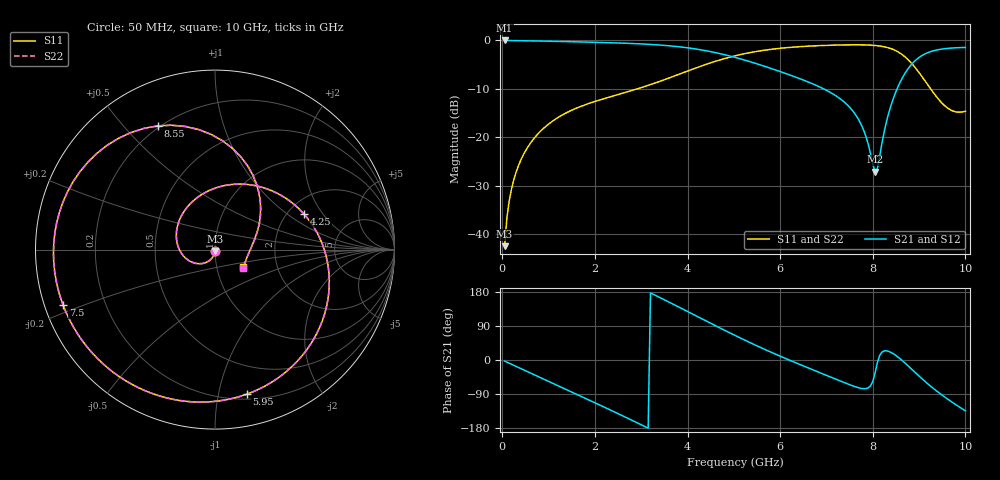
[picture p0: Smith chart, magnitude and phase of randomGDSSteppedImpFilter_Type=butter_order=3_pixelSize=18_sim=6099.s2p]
! freq	dB(S11)	phase(S11)	dB(S12)	phase(S12)
!  dB(S21)	phase(S21)	dB(S22)	phase(S22)
!S-par simulation data
#  GHz  S  DB  R 50
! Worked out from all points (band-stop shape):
!   200 points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, 50 MHz to 10 GHz, reference 50 ohm
!   highest |S21| = 0.00 dB at 50 MHz (marker M1); lowest = -27.0 dB at 8.05 GHz (marker M2)
!   |S21| within 3 dB of the highest: start of sweep to 4.829 GHz; 9.082 GHz to end of sweep
!   lowest |S11| = -42.4 dB at 50 MHz (marker M3), VSWR 1.02, Z = 50 - j0.757 ohm
!   |S11| at or under -10 dB: start of sweep to 2.913 GHz; 9.251 GHz to end of sweep
!   |S22| runs from -42.4 to -0.9 dB; largest |S21 - S12| = 0
!   S11 on the Smith chart (normalised r, x): 50 MHz: 1.00, -0.02; 4.25 GHz: 2.45, +1.35; 5.95 GHz: 0.24, -1.21; 7.5 GHz: 0.05, -0.18; 8.55 GHz: 0.19, +0.62; 10 GHz: 1.34, -0.28
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0.05  -42.41 -91.5  -0.00 -2.9  -0.00 -2.9  -42.41 -91.5
0.1  -36.49 -94.7  -0.01 -5.7  -0.01 -5.7  -36.49 -94.7
0.2  -30.56 -101.0  -0.02 -11.4  -0.02 -11.4  -30.56 -101.0
0.5  -22.79 -118.7  -0.06 -28.3  -0.06 -28.3  -22.79 -118.8
1.15  -16.21 -155.7  -0.18 -64.9  -0.18 -64.9  -16.21 -155.7
1.75  -13.40 170.4  -0.32 -98.6  -0.32 -98.6  -13.40 170.3
2.2  -12.00 144.8  -0.44 -124.2  -0.44 -124.2  -12.00 144.7
2.65  -10.76 118.8  -0.57 -150.2  -0.57 -150.2  -10.76 118.7
3.4  -8.44 74.1  -0.95 165.1  -0.95 165.1  -8.44 74.0
4.25  -5.44 21.6  -1.87 112.5  -1.87 112.5  -5.44 21.5
5.05  -3.12 -27.2  -3.55 63.3  -3.55 63.3  -3.12 -27.3
5.95  -1.67 -77.7  -6.25 12.7  -6.25 12.7  -1.67 -77.8
6.7  -1.13 -116.5  -8.94 -25.6  -8.94 -25.6  -1.13 -116.6
7.5  -0.90 -159.9  -13.77 -65.2  -13.77 -65.2  -0.90 -159.9
7.8  -0.91 -178.9  -18.43 -75.7  -18.43 -75.7  -0.91 -179.0
8.05  -1.04 162.6  -27.05 -34.3  -27.05 -34.3  -1.04 162.6
8.35  -1.56 135.9  -14.77 22.5  -14.77 22.5  -1.56 135.9
8.55  -2.39 114.9  -9.43 7.3  -9.43 7.3  -2.39 114.8
8.95  -6.01 68.8  -3.88 -36.8  -3.88 -36.8  -6.01 68.6
9.35  -11.29 27.5  -2.04 -79.1  -2.04 -79.1  -11.30 27.0
9.65  -14.16 -0.3  -1.61 -106.1  -1.61 -106.1  -14.18 -1.0
10  -14.59 -32.3  -1.45 -134.2  -1.45 -134.2  -14.60 -33.0
